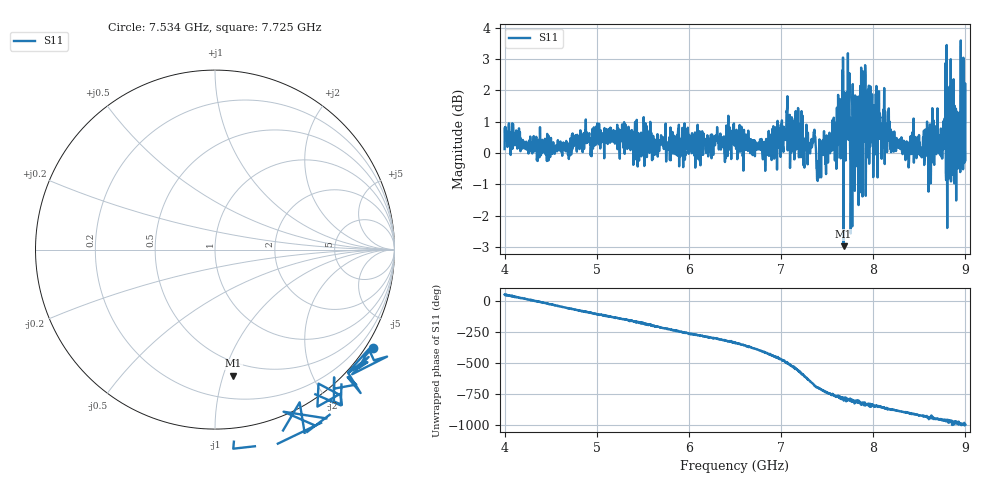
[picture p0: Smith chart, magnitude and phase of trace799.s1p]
! Created with skrf 1.8.0 (http://scikit-rf.org).
# Hz S RI R 50.0
!freq ReS11 ImS11
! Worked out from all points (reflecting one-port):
!   1601 points, 4 GHz to 9 GHz, reference 50 ohm
!   lowest |S11| = -3.0 dB at 7.678 GHz (marker M1), VSWR 5.90, Z = 19.1 - j54.1 ohm
!   phase of S11 starts at 51 deg and turns -1052 deg over the sweep
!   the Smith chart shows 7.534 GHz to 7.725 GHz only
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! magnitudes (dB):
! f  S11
! 4 GHz  0.1
! 4.625 GHz  -0.1
! 5.25 GHz  -0.2
! 5.875 GHz  0.6
! 6.5 GHz  0.6
! 6.825 GHz  0.2
! 7.053 GHz  0.4
! 7.125 GHz  0.5
! 7.209 GHz  0.9
! 7.262 GHz  0.4
! 7.353 GHz  0.6
! 7.409 GHz  -0.6
! 7.441 GHz  0.3
! 7.591 GHz  1.0
! 7.65 GHz  1.0
! 7.678 GHz  -3.0
! 7.728 GHz  1.2
! 7.75 GHz  -0.2
! 7.781 GHz  0.7
! 7.8 GHz  -1.2
! 7.891 GHz  0.9
! 8.375 GHz  0.3
! 8.612 GHz  0.4
! 8.731 GHz  0.3
! 8.775 GHz  1.1
! 8.919 GHz  -0.1
! 8.972 GHz  0.7
! 9 GHz  -0.2
